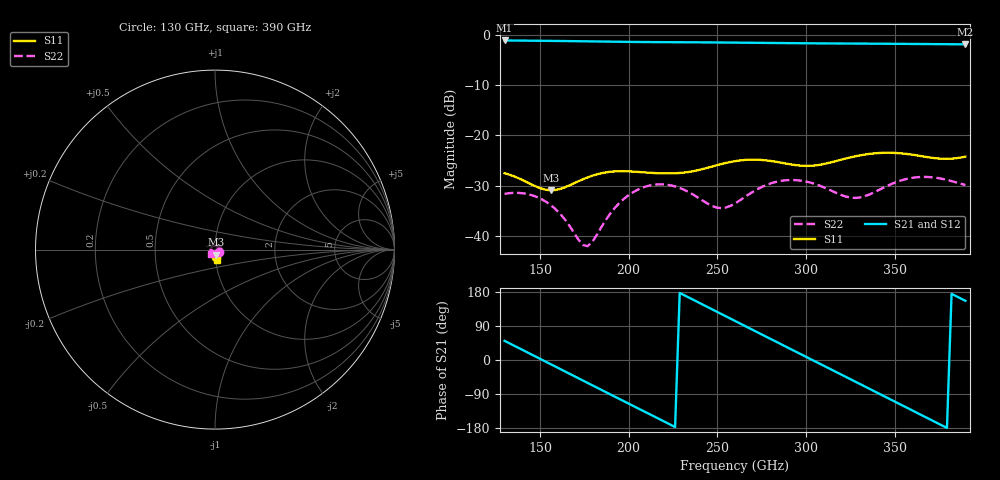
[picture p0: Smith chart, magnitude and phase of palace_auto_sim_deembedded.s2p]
! Created with skrf 1.11.0 (http://scikit-rf.org).
# GHz S DB R 50.0
!freq dBS11 angS11 dBS21 angS21 dBS12 angS12 dBS22 angS22
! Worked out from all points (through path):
!   101 points, 130 GHz to 390 GHz, reference 50 ohm
!   highest |S21| = -1.16 dB at 130 GHz (marker M1); lowest = -1.9 dB at 390 GHz (marker M2)
!   group delay of S21, straight-line fit = 6.56 ps
!   lowest |S11| = -30.9 dB at 156 GHz (marker M3), VSWR 1.06, Z = 50.4 - j2.83 ohm
!   |S11| at or under -10 dB: start of sweep to end of sweep
!   |S22| runs from -42.0 to -28.3 dB; largest |S21 - S12| = 1.4e-13
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130  -27.54 -83.6  -1.16 50.5  -1.16 50.5  -31.64 -38.1
143  -29.39 -90.7  -1.20 19.7  -1.20 19.7  -31.69 -65.3
156  -30.93 -80.6  -1.25 -11.1  -1.25 -11.1  -33.86 -99.1
174.2  -28.74 -68.4  -1.32 -54.2  -1.32 -54.2  -41.80 165.5
179.4  -28.04 -69.9  -1.35 -66.5  -1.35 -66.5  -41.23 113.3
195  -27.14 -78.1  -1.42 -103.4  -1.42 -103.4  -33.37 29.3
205.4  -27.29 -81.5  -1.46 -127.9  -1.46 -127.9  -30.77 -5.9
218.4  -27.56 -81.2  -1.50 -158.5  -1.50 -158.5  -29.74 -48.9
228.8  -27.49 -78.3  -1.52 177.0  -1.52 177.0  -30.47 -86.5
236.6  -27.12 -75.8  -1.53 158.5  -1.53 158.5  -31.83 -119.1
249.6  -25.97 -74.7  -1.56 127.7  -1.56 127.7  -34.37 168.7
260  -25.15 -78.1  -1.59 103.1  -1.59 103.1  -33.55 101.9
278.2  -25.02 -87.0  -1.65 60.0  -1.65 60.0  -29.81 17.4
291.2  -25.77 -88.0  -1.69 29.4  -1.69 29.4  -28.89 -31.1
304.2  -26.03 -82.0  -1.73 -1.3  -1.73 -1.3  -29.58 -80.8
314.6  -25.34 -77.6  -1.76 -25.8  -1.76 -25.8  -31.05 -127.3
327.6  -24.20 -78.0  -1.78 -56.5  -1.78 -56.5  -32.46 158.9
338  -23.62 -81.4  -1.80 -81.0  -1.80 -81.0  -31.42 97.1
348.4  -23.48 -85.7  -1.82 -105.6  -1.82 -105.6  -29.67 45.5
369.2  -24.37 -88.3  -1.88 -154.7  -1.88 -154.7  -28.30 -41.3
379.6  -24.68 -83.7  -1.90 -179.3  -1.90 -179.3  -28.87 -85.6
390  -24.25 -78.1  -1.93 156.2  -1.93 156.2  -29.88 -135.7
